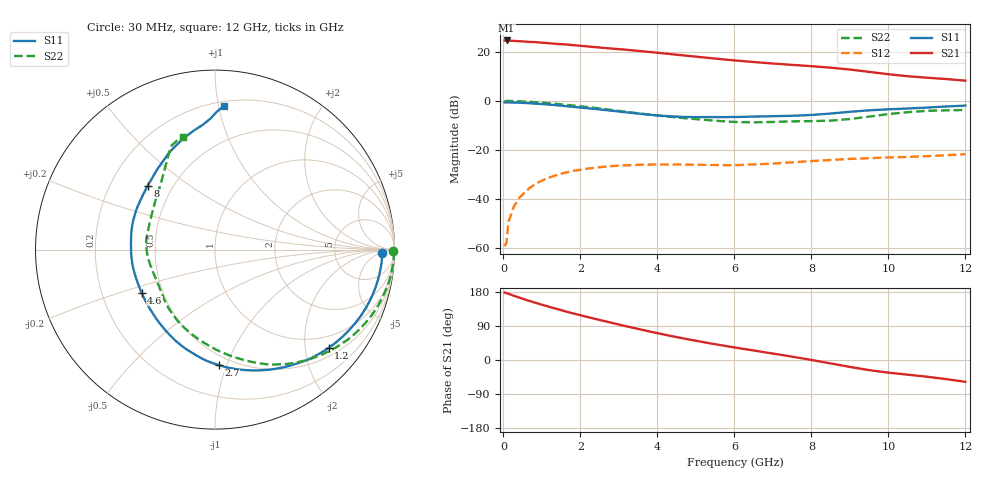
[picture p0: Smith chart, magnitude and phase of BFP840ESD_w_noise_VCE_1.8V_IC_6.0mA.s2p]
! Infineon Technologies  Discrete & RF Semiconductors
! BFP840ESD
! VCE =  1.8 V,  IC =  6.0 mA
! Common Emitter S-Parameters:  May 2012
# GHz  S  MA  R  50
!  f  S11  S21  S12  S22
! GHz  MAG  ANG  MAG  ANG  MAG  ANG  MAG  ANG
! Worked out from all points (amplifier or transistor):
!   93 points, 30 MHz to 12 GHz, reference 50 ohm
!   highest |S21| = 24.6 dB at 80 MHz (marker M1)
!   |S21| within 3 dB of that: start of sweep to 2.582 GHz
!   unconditionally stable (mu >= 1): 5.904 GHz to 10.05 GHz
!   at 1.1 GHz: K = 0.20, MSG = 27.7 dB, |S12| = -31.8 dB
!   at 4.2 GHz: K = 0.66, MSG = 22.6 dB, |S12| = -25.9 dB
!   at 12 GHz: K = 0.69, MSG = 15.0 dB, |S12| = -21.7 dB
!   lowest NFmin = 0.65 dB at 450 MHz
!   S11 on the Smith chart (normalised r, x): 30 MHz: 27, -7; 1.2 GHz: 0.69, -2.52; 2.7 GHz: 0.43, -0.94; 4.6 GHz: 0.38, -0.23; 8 GHz: 0.36, +0.35; 12 GHz: 0.23, +1.04
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0.03  0.9318 -1.0  16.96 177.9  0.0011 94.0  0.9939 -0.6
0.08  0.9316 -2.8  16.99 176.3  0.0013 105.9  0.9969 -2.2
0.13  0.9309 -4.6  16.92 174.7  0.0035 82.0  0.996 -3.8
0.23  0.927 -8.1  16.74 171.0  0.0059 80.6  0.9915 -6.8
0.6  0.902 -20.9  16.02 158.2  0.0148 74.2  0.9653 -17.5
0.9  0.8717 -31.0  15.56 148.9  0.0217 66.9  0.9335 -25.8
1.2  0.8371 -40.9  14.86 140.0  0.0277 60.0  0.8952 -33.9
1.6  0.7831 -54.0  14.15 128.6  0.0344 51.9  0.8369 -44.1
2.1  0.7179 -69.6  13.03 115.5  0.041 42.2  0.762 -56.3
2.7  0.6438 -88.1  11.82 100.8  0.0462 32.6  0.6706 -70.1
3.1  0.5943 -101.1  11.16 91.1  0.0485 27.2  0.6119 -79.3
3.4  0.5621 -110.6  10.61 84.2  0.0494 24.0  0.5717 -86.6
4.1  0.4978 -133.6  9.373 68.7  0.0507 16.8  0.4933 -104.1
4.6  0.474 -149.6  8.549 58.4  0.0505 13.1  0.4522 -116.3
5.2  0.4671 -166.8  7.673 47.0  0.0497 10.6  0.4128 -129.6
6.1  0.4705 173.2  6.567 31.6  0.0494 10.7  0.3709 -149.0
7  0.4871 156.5  5.765 17.0  0.0529 11.0  0.3721 -169.1
8  0.5173 136.4  5.084 0.1  0.0594 9.0  0.387 169.0
8.5  0.5523 125.4  4.738 -9.0  0.0626 7.1  0.3956 156.0
9.5  0.6415 106.5  3.894 -26.7  0.068 1.5  0.478 129.0
10.5  0.6992 95.5  3.177 -38.7  0.0722 -3.1  0.5885 116.1
12  0.8011 86.5  2.579 -57.6  0.0823 -9.0  0.6519 105.7
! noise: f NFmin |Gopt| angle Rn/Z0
0.45  0.65  0.45  1  0.16
0.9  0.65  0.45  5  0.16
1.5  0.68  0.45  14  0.14
1.9  0.7  0.43  17  0.13
2.4  0.71  0.38  29  0.14
3.5  0.74  0.27  57  0.11
5.5  0.84  0.18  122  0.09
8  1.01  0.33  -142  0.08
10  1.17  0.49  -99  0.16
12  1.39  0.59  -77  0.26
